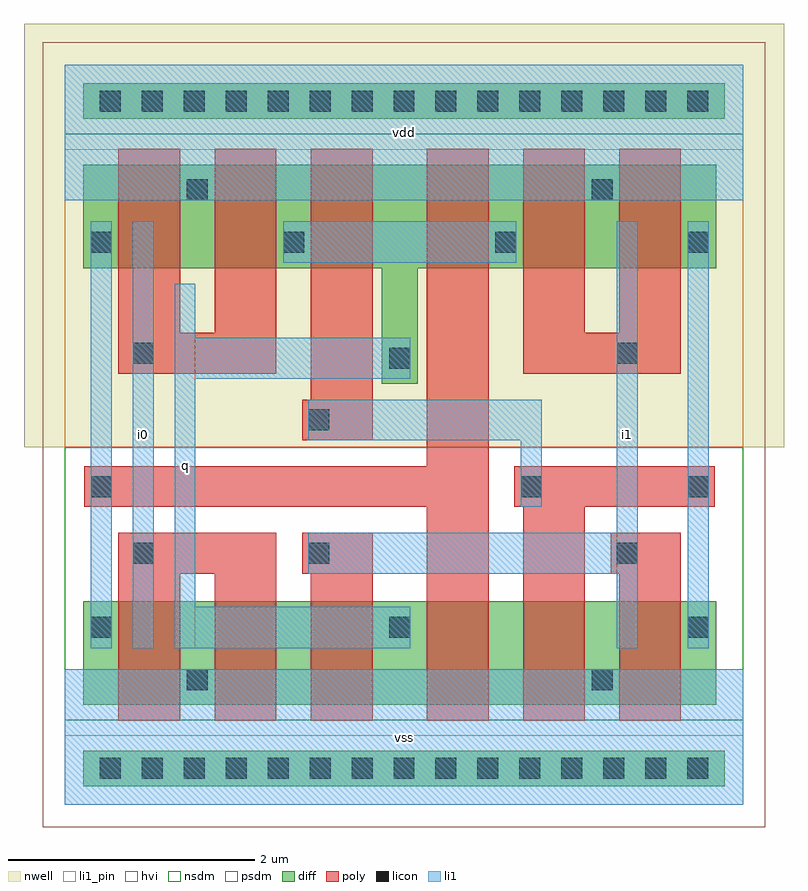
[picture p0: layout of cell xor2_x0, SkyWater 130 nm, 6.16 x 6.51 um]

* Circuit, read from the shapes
.subckt xor2_x0 i0 i1 q vdd vss
XM1 vss i0 n1 VSUBS sky130_fd_pr__nfet_g5v0d10v5 w=0.84 l=0.5
XM2 n2 i0 vss VSUBS sky130_fd_pr__nfet_g5v0d10v5 w=0.84 l=0.5
XM3 q i1 n2 VSUBS sky130_fd_pr__nfet_g5v0d10v5 w=0.84 l=0.5
XM4 n3 n1 q VSUBS sky130_fd_pr__nfet_g5v0d10v5 w=0.84 l=0.5
XM5 vss n4 n3 VSUBS sky130_fd_pr__nfet_g5v0d10v5 w=0.84 l=0.5
XM6 n4 i1 vss VSUBS sky130_fd_pr__nfet_g5v0d10v5 w=0.84 l=0.5
XM7 vdd i0 n1 n5 sky130_fd_pr__pfet_g5v0d10v5 w=0.84 l=0.5
XM8 n6 i0 vdd n5 sky130_fd_pr__pfet_g5v0d10v5 w=0.84 l=0.5
XM9 q n4 n6 n5 sky130_fd_pr__pfet_g5v0d10v5 w=0.84 l=0.5
XM10 n6 n1 q n5 sky130_fd_pr__pfet_g5v0d10v5 w=0.84 l=0.5
XM11 vdd i1 n6 n5 sky130_fd_pr__pfet_g5v0d10v5 w=0.84 l=0.5
XM12 n4 i1 vdd n5 sky130_fd_pr__pfet_g5v0d10v5 w=0.84 l=0.5
.ends

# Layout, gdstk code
import gdstk
lib = gdstk.Library(unit=1e-6, precision=1e-09)
def R(c, l, rs):  # rectangles x0, y0, x1, y1
    for r in rs: c.add(gdstk.rectangle(r[:2], r[2:], *l))
def A(c, l, x, y, w, h, nx, ny, dx, dy):  # array of equal rectangles
    R(c, l, [(x+i*dx, y+j*dy, x+i*dx+w, y+j*dy+h) for i in range(nx) for j in range(ny)])
def P(c, l, *ps):  # polygons
    for p in ps: c.add(gdstk.Polygon(p, *l))
nwell = (64, 20)
diff = (65, 20)
poly = (66, 20)
licon = (66, 44)
li1_pin = (67, 16)
li1 = (67, 20)
hvi = (75, 20)
nsdm = (93, 44)
psdm = (94, 20)

xor2_x0 = lib.new_cell('xor2_x0')
R(xor2_x0, nwell, [(-0.33,2.9,5.83,6.33)])
R(xor2_x0, diff, [(0.15,0.15,5.35,0.44), (0.15,0.81,5.28,1.65), (0.15,5.56,5.35,5.85)])
P(xor2_x0, diff, [(2.57,3.415),(2.57,4.35),(0.15,4.35),(0.15,5.19),(5.28,5.19),(5.28,4.35),(2.86,4.35),(2.86,3.415)])
P(xor2_x0, poly, [(2.935,0.68),(2.935,2.415),(0.16,2.415),(0.16,2.745),(2.935,2.745),(2.935,5.32),(3.435,5.32),(3.435,0.68)],
  [(0.435,3.495),(0.435,5.32),(0.935,5.32),(0.935,3.825),(1.215,3.825),(1.215,5.32),(1.715,5.32),(1.715,3.495)],
  [(0.435,0.68),(0.435,2.205),(1.715,2.205),(1.715,0.68),(1.215,0.68),(1.215,1.875),(0.935,1.875),(0.935,0.68)],
  [(4.495,0.68),(4.495,1.875),(4.425,1.875),(4.425,2.205),(4.995,2.205),(4.995,0.68)],
  [(1.995,0.68),(1.995,1.875),(1.925,1.875),(1.925,2.205),(2.495,2.205),(2.495,0.68)],
  [(3.715,3.495),(3.715,5.32),(4.215,5.32),(4.215,3.825),(4.495,3.825),(4.495,5.32),(4.995,5.32),(4.995,3.495)],
  [(3.715,0.68),(3.715,2.415),(3.645,2.415),(3.645,2.745),(5.27,2.745),(5.27,2.415),(4.215,2.415),(4.215,0.68)],
  [(1.925,2.955),(1.925,3.285),(1.995,3.285),(1.995,5.32),(2.495,5.32),(2.495,2.955)])
A(xor2_x0, licon, 0.285, 0.21, 0.17, 0.17, 15, 2, 0.34, 5.41)
A(xor2_x0, licon, 0.21, 1.355, 0.17, 0.17, 3, 1, 2.42, 0)
R(xor2_x0, licon, [(0.99,0.93,1.16,1.1), (4.27,0.93,4.44,1.1), (0.55,1.955,0.72,2.125), (1.975,1.955,2.145,2.125), (4.475,1.955,4.645,2.125), (0.21,2.495,0.38,2.665), (3.695,2.495,3.865,2.665), (5.05,2.495,5.22,2.665), (1.975,3.035,2.145,3.205), (2.63,3.535,2.8,3.705), (0.55,3.575,0.72,3.745), (4.475,3.575,4.645,3.745), (0.21,4.475,0.38,4.645), (1.77,4.475,1.94,4.645), (3.49,4.475,3.66,4.645), (5.05,4.475,5.22,4.645), (0.99,4.9,1.16,5.07), (4.27,4.9,4.44,5.07)])
R(xor2_x0, li1_pin, [(0,0,5.5,1.1), (0.55,1.27,0.72,4.73), (0.89,1.27,1.06,4.225), (4.475,1.27,4.645,4.73), (0,4.9,5.5,6)])
R(xor2_x0, li1, [(0,0,5.5,1.1), (0.21,1.27,0.38,4.73), (0.55,1.27,0.72,4.73), (5.05,1.27,5.22,4.73), (1.77,4.395,3.66,4.73), (0,4.9,5.5,6)])
P(xor2_x0, li1, [(0.89,1.27),(0.89,4.225),(1.06,4.225),(1.06,3.785),(2.8,3.785),(2.8,3.455),(1.06,3.455),(1.06,1.605),(2.8,1.605),(2.8,1.27)],
  [(4.475,1.27),(4.475,1.875),(1.975,1.875),(1.975,2.205),(4.475,2.205),(4.475,4.73),(4.645,4.73),(4.645,1.27)],
  [(3.695,2.415),(3.695,2.955),(1.975,2.955),(1.975,3.285),(3.865,3.285),(3.865,2.415)])
R(xor2_x0, hvi, [(-0.18,-0.18,5.68,6.18)])
R(xor2_x0, nsdm, [(0,0.685,5.5,2.9), (0,5.435,5.5,6)])
R(xor2_x0, psdm, [(0,0,5.5,0.565), (0,2.9,5.5,5.315)])
xor2_x0.add(gdstk.Label('vdd', (2.75,5.45), layer=67, texttype=16))
xor2_x0.add(gdstk.Label('vss', (2.75,0.55), layer=67, texttype=16))
xor2_x0.add(gdstk.Label('i0', (0.635,3), layer=67, texttype=16))
xor2_x0.add(gdstk.Label('q', (0.975,2.748), layer=67, texttype=16))
xor2_x0.add(gdstk.Label('i1', (4.56,3), layer=67, texttype=16))

lib.write_gds('xor2_x0.gds')
